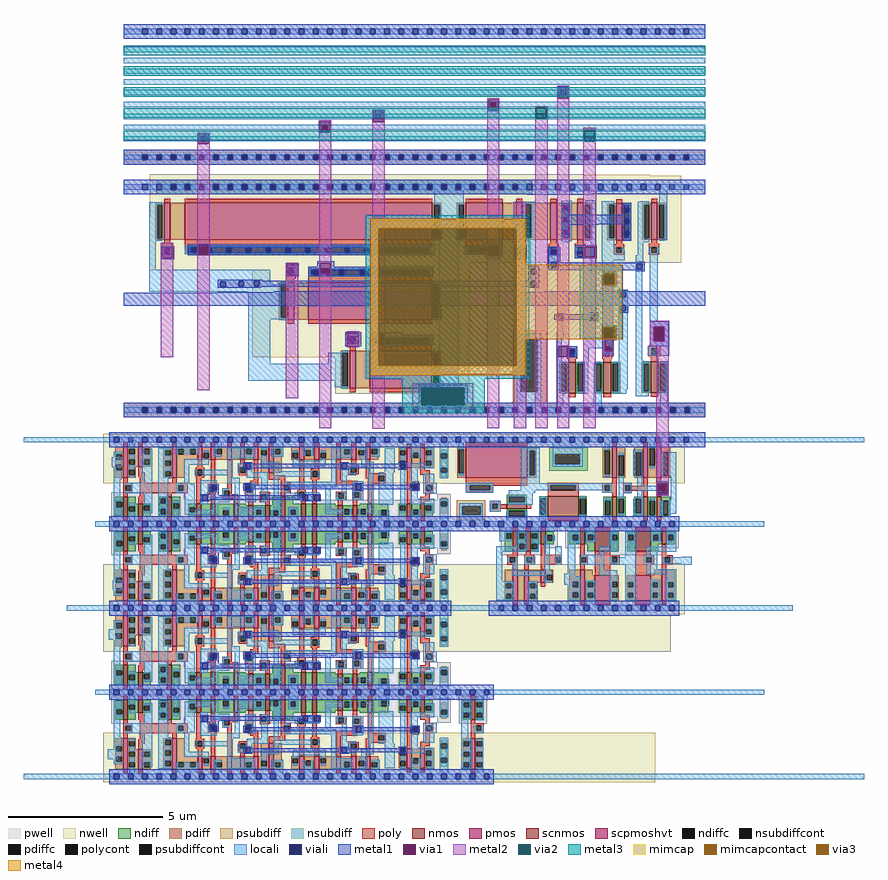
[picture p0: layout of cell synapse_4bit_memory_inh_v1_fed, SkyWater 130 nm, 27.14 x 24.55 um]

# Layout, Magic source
magic
tech sky130A
magscale 1 2
<< nwell >>
rect 4832 9204 5600 9527
rect 4841 8683 5561 8684
rect 2772 8519 2795 8581
rect 4841 8117 6313 8683
rect 4841 7274 6215 7595
<< locali >>
rect 6181 10218 6303 10257
rect 6181 10123 6204 10218
rect 6273 10123 6303 10218
rect 6181 10031 6303 10123
rect 2135 9471 7563 9505
rect 2703 9309 2769 9375
rect 4737 9139 4803 9205
rect 5345 9145 5438 9210
rect 4445 9074 4503 9132
rect 5465 8961 5509 9110
rect 2595 8927 4987 8961
rect 5171 8927 6919 8961
rect 4447 8756 4505 8814
rect 4737 8683 4803 8749
rect 5366 8679 5439 8731
rect 5566 8679 5611 8799
rect 6385 8729 6449 8733
rect 6350 8686 6449 8729
rect 6385 8679 6449 8686
rect 5627 8598 5694 8622
rect 2708 8515 2774 8581
rect 5627 8550 5693 8598
rect 5220 8500 5254 8534
rect 2411 8383 7103 8417
rect 2684 8197 2750 8263
rect 4737 8051 4803 8117
rect 4444 7984 4502 8042
rect 2595 7839 6919 7873
rect 4450 7669 4508 7727
rect 4736 7595 4802 7661
rect 2677 7423 2743 7489
rect 2135 7295 7563 7329
<< viali >>
rect 6204 10123 6273 10218
rect 6233 9160 6267 9194
<< metal1 >>
rect 6179 10218 6303 10254
rect 6179 10123 6204 10218
rect 6273 10123 6303 10218
rect 6179 10090 6303 10123
rect 6220 9216 6299 9218
rect 6220 9208 6301 9216
rect 6220 9140 6226 9208
rect 6294 9140 6301 9208
rect 6220 9129 6301 9140
rect 5139 8352 5211 8448
<< via1 >>
rect 6204 10123 6273 10218
rect 6226 9194 6294 9208
rect 6226 9160 6233 9194
rect 6233 9160 6267 9194
rect 6267 9160 6294 9194
rect 6226 9140 6294 9160
<< metal2 >>
rect 6178 10218 6302 10257
rect 6178 10123 6204 10218
rect 6273 10123 6302 10218
rect 6178 10093 6302 10123
rect 6219 9208 6300 10093
rect 6219 9140 6226 9208
rect 6294 9140 6300 9208
rect 6219 9126 6300 9140
use dpi_syn_inh_4bit_fc_v2  dpi_syn_inh_4bit_fc_v2_0
transform 1 0 -2251 0 1 7141
box 5031 2299 8787 5032
use sky130_fd_sc_hd__clkdlybuf4s50_1  sky130_fd_sc_hd__clkdlybuf4s50_1_0 $PDKPATH/libs.ref/sky130_fd_sc_hd/mag
transform -1 0 6367 0 -1 8944
box -38 -48 774 592
use sky130_fd_sc_hd__dfrbp_1  sky130_fd_sc_hd__dfrbp_1_0 $PDKPATH/libs.ref/sky130_fd_sc_hd/mag
transform -1 0 4803 0 1 8944
box -38 -48 2154 592
use sky130_fd_sc_hd__dfrbp_1  sky130_fd_sc_hd__dfrbp_1_1
transform -1 0 4803 0 -1 7856
box -38 -48 2154 592
use sky130_fd_sc_hd__dfrbp_1  sky130_fd_sc_hd__dfrbp_1_2
transform -1 0 4803 0 -1 8944
box -38 -48 2154 592
use sky130_fd_sc_hd__dfrbp_1  sky130_fd_sc_hd__dfrbp_1_3
transform -1 0 4803 0 1 7856
box -38 -48 2154 592
use sky130_fd_sc_hd__inv_1  sky130_fd_sc_hd__inv_1_5 $PDKPATH/libs.ref/sky130_fd_sc_hd/mag
transform -1 0 5171 0 -1 7856
box -38 -48 314 592
use sky130_fd_sc_hd__nor2b_1  sky130_fd_sc_hd__nor2b_1_0 $PDKPATH/libs.ref/sky130_fd_sc_hd/mag
transform -1 0 5631 0 -1 8944
box -38 -48 498 592
use sky130_fd_sc_hd__tapvpwrvgnd_1  sky130_fd_sc_hd__tapvpwrvgnd_1_24 $PDKPATH/libs.ref/sky130_fd_sc_hd/mag
transform 1 0 4803 0 -1 8944
box -38 -48 130 592
use sky130_fd_sc_hd__tapvpwrvgnd_1  sky130_fd_sc_hd__tapvpwrvgnd_1_26
transform 1 0 4803 0 1 8944
box -38 -48 130 592
use sky130_fd_sc_hd__tapvpwrvgnd_1  sky130_fd_sc_hd__tapvpwrvgnd_1_27
transform 1 0 4803 0 -1 7856
box -38 -48 130 592
use sky130_fd_sc_hd__tapvpwrvgnd_1  sky130_fd_sc_hd__tapvpwrvgnd_1_28
transform 1 0 4803 0 1 7856
box -38 -48 130 592
use spike_extender  spike_extender_0
transform 1 0 4895 0 1 8944
box -38 -48 1510 592
<< end >>

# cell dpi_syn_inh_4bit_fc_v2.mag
magic
tech sky130A
magscale 1 2
<< psubdiff >>
rect 5031 4188 8787 4219
rect 5031 4154 5151 4188
rect 5185 4154 5243 4188
rect 5277 4154 5335 4188
rect 5369 4154 5427 4188
rect 5461 4154 5519 4188
rect 5553 4154 5611 4188
rect 5645 4154 5703 4188
rect 5737 4154 5795 4188
rect 5829 4154 5887 4188
rect 5921 4154 5979 4188
rect 6013 4154 6071 4188
rect 6105 4154 6163 4188
rect 6197 4154 6255 4188
rect 6289 4154 6347 4188
rect 6381 4154 6439 4188
rect 6473 4154 6531 4188
rect 6565 4154 6623 4188
rect 6657 4154 6715 4188
rect 6749 4154 6807 4188
rect 6841 4154 6899 4188
rect 6933 4154 6991 4188
rect 7025 4154 7083 4188
rect 7117 4154 7175 4188
rect 7209 4154 7267 4188
rect 7301 4154 7359 4188
rect 7393 4154 7451 4188
rect 7485 4154 7543 4188
rect 7577 4154 7635 4188
rect 7669 4154 7727 4188
rect 7761 4154 7819 4188
rect 7853 4154 7911 4188
rect 7945 4154 8003 4188
rect 8037 4154 8095 4188
rect 8129 4154 8187 4188
rect 8221 4154 8279 4188
rect 8313 4154 8371 4188
rect 8405 4154 8463 4188
rect 8497 4154 8555 4188
rect 8589 4154 8647 4188
rect 8681 4154 8787 4188
rect 5031 4123 8787 4154
rect 5031 2556 8787 2587
rect 5031 2522 5151 2556
rect 5185 2522 5243 2556
rect 5277 2522 5335 2556
rect 5369 2522 5427 2556
rect 5461 2522 5519 2556
rect 5553 2522 5611 2556
rect 5645 2522 5703 2556
rect 5737 2522 5795 2556
rect 5829 2522 5887 2556
rect 5921 2522 5979 2556
rect 6013 2522 6071 2556
rect 6105 2522 6163 2556
rect 6197 2522 6255 2556
rect 6289 2522 6347 2556
rect 6381 2522 6439 2556
rect 6473 2522 6531 2556
rect 6565 2522 6623 2556
rect 6657 2522 6715 2556
rect 6749 2522 6807 2556
rect 6841 2522 6899 2556
rect 6933 2522 6991 2556
rect 7025 2522 7083 2556
rect 7117 2522 7175 2556
rect 7209 2522 7267 2556
rect 7301 2522 7359 2556
rect 7393 2522 7451 2556
rect 7485 2522 7543 2556
rect 7577 2522 7635 2556
rect 7669 2522 7731 2556
rect 7765 2522 7823 2556
rect 7857 2522 7915 2556
rect 7949 2522 8007 2556
rect 8041 2522 8099 2556
rect 8133 2522 8191 2556
rect 8225 2522 8283 2556
rect 8317 2522 8375 2556
rect 8409 2522 8470 2556
rect 8504 2522 8562 2556
rect 8596 2522 8654 2556
rect 8688 2522 8787 2556
rect 5031 2491 8787 2522
<< psubdiffcont >>
rect 5151 4154 5185 4188
rect 5243 4154 5277 4188
rect 5335 4154 5369 4188
rect 5427 4154 5461 4188
rect 5519 4154 5553 4188
rect 5611 4154 5645 4188
rect 5703 4154 5737 4188
rect 5795 4154 5829 4188
rect 5887 4154 5921 4188
rect 5979 4154 6013 4188
rect 6071 4154 6105 4188
rect 6163 4154 6197 4188
rect 6255 4154 6289 4188
rect 6347 4154 6381 4188
rect 6439 4154 6473 4188
rect 6531 4154 6565 4188
rect 6623 4154 6657 4188
rect 6715 4154 6749 4188
rect 6807 4154 6841 4188
rect 6899 4154 6933 4188
rect 6991 4154 7025 4188
rect 7083 4154 7117 4188
rect 7175 4154 7209 4188
rect 7267 4154 7301 4188
rect 7359 4154 7393 4188
rect 7451 4154 7485 4188
rect 7543 4154 7577 4188
rect 7635 4154 7669 4188
rect 7727 4154 7761 4188
rect 7819 4154 7853 4188
rect 7911 4154 7945 4188
rect 8003 4154 8037 4188
rect 8095 4154 8129 4188
rect 8187 4154 8221 4188
rect 8279 4154 8313 4188
rect 8371 4154 8405 4188
rect 8463 4154 8497 4188
rect 8555 4154 8589 4188
rect 8647 4154 8681 4188
rect 5151 2522 5185 2556
rect 5243 2522 5277 2556
rect 5335 2522 5369 2556
rect 5427 2522 5461 2556
rect 5519 2522 5553 2556
rect 5611 2522 5645 2556
rect 5703 2522 5737 2556
rect 5795 2522 5829 2556
rect 5887 2522 5921 2556
rect 5979 2522 6013 2556
rect 6071 2522 6105 2556
rect 6163 2522 6197 2556
rect 6255 2522 6289 2556
rect 6347 2522 6381 2556
rect 6439 2522 6473 2556
rect 6531 2522 6565 2556
rect 6623 2522 6657 2556
rect 6715 2522 6749 2556
rect 6807 2522 6841 2556
rect 6899 2522 6933 2556
rect 6991 2522 7025 2556
rect 7083 2522 7117 2556
rect 7175 2522 7209 2556
rect 7267 2522 7301 2556
rect 7359 2522 7393 2556
rect 7451 2522 7485 2556
rect 7543 2522 7577 2556
rect 7635 2522 7669 2556
rect 7731 2522 7765 2556
rect 7823 2522 7857 2556
rect 7915 2522 7949 2556
rect 8007 2522 8041 2556
rect 8099 2522 8133 2556
rect 8191 2522 8225 2556
rect 8283 2522 8317 2556
rect 8375 2522 8409 2556
rect 8470 2522 8504 2556
rect 8562 2522 8596 2556
rect 8654 2522 8688 2556
<< locali >>
rect 5031 4967 5151 5001
rect 5185 4967 5243 5001
rect 5277 4967 5335 5001
rect 5369 4967 5427 5001
rect 5461 4967 5519 5001
rect 5553 4967 5611 5001
rect 5645 4967 5703 5001
rect 5737 4967 5795 5001
rect 5829 4967 5887 5001
rect 5921 4967 5979 5001
rect 6013 4967 6071 5001
rect 6105 4967 6163 5001
rect 6197 4967 6255 5001
rect 6289 4967 6347 5001
rect 6381 4967 6439 5001
rect 6473 4967 6531 5001
rect 6565 4967 6623 5001
rect 6657 4967 6715 5001
rect 6749 4967 6807 5001
rect 6841 4967 6899 5001
rect 6933 4967 6991 5001
rect 7025 4967 7083 5001
rect 7117 4967 7175 5001
rect 7209 4967 7267 5001
rect 7301 4967 7359 5001
rect 7393 4967 7451 5001
rect 7485 4967 7543 5001
rect 7577 4967 7635 5001
rect 7669 4967 7727 5001
rect 7761 4967 7819 5001
rect 7853 4967 7911 5001
rect 7945 4967 8003 5001
rect 8037 4967 8095 5001
rect 8129 4967 8187 5001
rect 8221 4967 8279 5001
rect 8313 4967 8371 5001
rect 8405 4967 8463 5001
rect 8497 4967 8555 5001
rect 8589 4967 8647 5001
rect 8681 4967 8787 5001
rect 5031 4849 8787 4884
rect 5031 4779 8787 4813
rect 5031 4710 8787 4744
rect 5031 4641 8787 4675
rect 5031 4572 7853 4606
rect 7887 4572 8787 4606
rect 5031 4495 7401 4529
rect 7435 4495 8787 4529
rect 5031 4418 6658 4452
rect 6692 4418 8787 4452
rect 5031 4348 6314 4382
rect 6348 4348 8787 4382
rect 5031 4274 5529 4308
rect 5563 4274 8787 4308
rect 5031 4154 5151 4188
rect 5185 4154 5243 4188
rect 5277 4154 5335 4188
rect 5369 4154 5427 4188
rect 5461 4154 5519 4188
rect 5553 4154 5611 4188
rect 5645 4154 5703 4188
rect 5737 4154 5795 4188
rect 5829 4154 5887 4188
rect 5921 4154 5979 4188
rect 6013 4154 6071 4188
rect 6105 4154 6163 4188
rect 6197 4154 6255 4188
rect 6289 4154 6347 4188
rect 6381 4154 6439 4188
rect 6473 4154 6531 4188
rect 6565 4154 6623 4188
rect 6657 4154 6715 4188
rect 6749 4154 6807 4188
rect 6841 4154 6899 4188
rect 6933 4154 6991 4188
rect 7025 4154 7083 4188
rect 7117 4154 7175 4188
rect 7209 4154 7267 4188
rect 7301 4154 7359 4188
rect 7393 4154 7451 4188
rect 7485 4154 7543 4188
rect 7577 4154 7635 4188
rect 7669 4154 7727 4188
rect 7761 4154 7819 4188
rect 7853 4154 7911 4188
rect 7945 4154 8003 4188
rect 8037 4154 8095 4188
rect 8129 4154 8187 4188
rect 8221 4154 8279 4188
rect 8313 4154 8371 4188
rect 8405 4154 8463 4188
rect 8497 4154 8555 4188
rect 8589 4154 8647 4188
rect 8681 4154 8787 4188
rect 8436 3389 8479 3412
rect 5031 2522 5151 2556
rect 5185 2522 5243 2556
rect 5277 2522 5335 2556
rect 5369 2522 5427 2556
rect 5461 2522 5519 2556
rect 5553 2522 5611 2556
rect 5645 2522 5703 2556
rect 5737 2522 5795 2556
rect 5829 2522 5887 2556
rect 5921 2522 5979 2556
rect 6013 2522 6071 2556
rect 6105 2522 6163 2556
rect 6197 2522 6255 2556
rect 6289 2522 6347 2556
rect 6381 2522 6439 2556
rect 6473 2522 6531 2556
rect 6565 2522 6623 2556
rect 6657 2522 6715 2556
rect 6749 2522 6807 2556
rect 6841 2522 6899 2556
rect 6933 2522 6991 2556
rect 7025 2522 7083 2556
rect 7117 2522 7175 2556
rect 7209 2522 7267 2556
rect 7301 2522 7359 2556
rect 7393 2522 7451 2556
rect 7485 2522 7543 2556
rect 7577 2522 7635 2556
rect 7669 2522 7731 2556
rect 7765 2522 7823 2556
rect 7857 2522 7915 2556
rect 7949 2522 8007 2556
rect 8041 2522 8099 2556
rect 8133 2522 8191 2556
rect 8225 2522 8283 2556
rect 8317 2522 8375 2556
rect 8409 2522 8470 2556
rect 8504 2522 8562 2556
rect 8596 2522 8654 2556
rect 8688 2522 8787 2556
rect 5031 2330 5151 2364
rect 5185 2330 5243 2364
rect 5277 2330 5335 2364
rect 5369 2330 5427 2364
rect 5461 2330 5519 2364
rect 5553 2330 5611 2364
rect 5645 2330 5703 2364
rect 5737 2330 5795 2364
rect 5829 2330 5887 2364
rect 5921 2330 5979 2364
rect 6013 2330 6071 2364
rect 6105 2330 6163 2364
rect 6197 2330 6255 2364
rect 6289 2330 6347 2364
rect 6381 2330 6439 2364
rect 6473 2330 6531 2364
rect 6565 2330 6623 2364
rect 6657 2330 6715 2364
rect 6749 2330 6807 2364
rect 6841 2330 6899 2364
rect 6933 2330 6991 2364
rect 7025 2330 7083 2364
rect 7117 2330 7175 2364
rect 7209 2330 7267 2364
rect 7301 2330 7359 2364
rect 7393 2330 7451 2364
rect 7485 2330 7543 2364
rect 7577 2330 7635 2364
rect 7669 2330 7727 2364
rect 7761 2330 7819 2364
rect 7853 2330 7911 2364
rect 7945 2330 8003 2364
rect 8037 2330 8095 2364
rect 8129 2330 8187 2364
rect 8221 2330 8279 2364
rect 8313 2330 8371 2364
rect 8405 2330 8463 2364
rect 8497 2330 8555 2364
rect 8589 2330 8647 2364
rect 8681 2330 8787 2364
<< viali >>
rect 5151 4967 5185 5001
rect 5243 4967 5277 5001
rect 5335 4967 5369 5001
rect 5427 4967 5461 5001
rect 5519 4967 5553 5001
rect 5611 4967 5645 5001
rect 5703 4967 5737 5001
rect 5795 4967 5829 5001
rect 5887 4967 5921 5001
rect 5979 4967 6013 5001
rect 6071 4967 6105 5001
rect 6163 4967 6197 5001
rect 6255 4967 6289 5001
rect 6347 4967 6381 5001
rect 6439 4967 6473 5001
rect 6531 4967 6565 5001
rect 6623 4967 6657 5001
rect 6715 4967 6749 5001
rect 6807 4967 6841 5001
rect 6899 4967 6933 5001
rect 6991 4967 7025 5001
rect 7083 4967 7117 5001
rect 7175 4967 7209 5001
rect 7267 4967 7301 5001
rect 7359 4967 7393 5001
rect 7451 4967 7485 5001
rect 7543 4967 7577 5001
rect 7635 4967 7669 5001
rect 7727 4967 7761 5001
rect 7819 4967 7853 5001
rect 7911 4967 7945 5001
rect 8003 4967 8037 5001
rect 8095 4967 8129 5001
rect 8187 4967 8221 5001
rect 8279 4967 8313 5001
rect 8371 4967 8405 5001
rect 8463 4967 8497 5001
rect 8555 4967 8589 5001
rect 8647 4967 8681 5001
rect 7853 4572 7887 4606
rect 7401 4495 7435 4529
rect 6658 4418 6692 4452
rect 6314 4348 6348 4382
rect 5529 4274 5563 4308
rect 5151 4154 5185 4188
rect 5243 4154 5277 4188
rect 5335 4154 5369 4188
rect 5427 4154 5461 4188
rect 5519 4154 5553 4188
rect 5611 4154 5645 4188
rect 5703 4154 5737 4188
rect 5795 4154 5829 4188
rect 5887 4154 5921 4188
rect 5979 4154 6013 4188
rect 6071 4154 6105 4188
rect 6163 4154 6197 4188
rect 6255 4154 6289 4188
rect 6347 4154 6381 4188
rect 6439 4154 6473 4188
rect 6531 4154 6565 4188
rect 6623 4154 6657 4188
rect 6715 4154 6749 4188
rect 6807 4154 6841 4188
rect 6899 4154 6933 4188
rect 6991 4154 7025 4188
rect 7083 4154 7117 4188
rect 7175 4154 7209 4188
rect 7267 4154 7301 4188
rect 7359 4154 7393 4188
rect 7451 4154 7485 4188
rect 7543 4154 7577 4188
rect 7635 4154 7669 4188
rect 7727 4154 7761 4188
rect 7819 4154 7853 4188
rect 7911 4154 7945 4188
rect 8003 4154 8037 4188
rect 8095 4154 8129 4188
rect 8187 4154 8221 4188
rect 8279 4154 8313 4188
rect 8371 4154 8405 4188
rect 8463 4154 8497 4188
rect 8555 4154 8589 4188
rect 8647 4154 8681 4188
rect 5151 2522 5185 2556
rect 5243 2522 5277 2556
rect 5335 2522 5369 2556
rect 5427 2522 5461 2556
rect 5519 2522 5553 2556
rect 5611 2522 5645 2556
rect 5703 2522 5737 2556
rect 5795 2522 5829 2556
rect 5887 2522 5921 2556
rect 5979 2522 6013 2556
rect 6071 2522 6105 2556
rect 6163 2522 6197 2556
rect 6255 2522 6289 2556
rect 6347 2522 6381 2556
rect 6439 2522 6473 2556
rect 6531 2522 6565 2556
rect 6623 2522 6657 2556
rect 6715 2522 6749 2556
rect 6807 2522 6841 2556
rect 6899 2522 6933 2556
rect 6991 2522 7025 2556
rect 7083 2522 7117 2556
rect 7175 2522 7209 2556
rect 7267 2522 7301 2556
rect 7359 2522 7393 2556
rect 7451 2522 7485 2556
rect 7543 2522 7577 2556
rect 7635 2522 7669 2556
rect 7731 2522 7765 2556
rect 7823 2522 7857 2556
rect 7915 2522 7949 2556
rect 8007 2522 8041 2556
rect 8099 2522 8133 2556
rect 8191 2522 8225 2556
rect 8283 2522 8317 2556
rect 8375 2522 8409 2556
rect 8470 2522 8504 2556
rect 8562 2522 8596 2556
rect 8654 2522 8688 2556
rect 5151 2330 5185 2364
rect 5243 2330 5277 2364
rect 5335 2330 5369 2364
rect 5427 2330 5461 2364
rect 5519 2330 5553 2364
rect 5611 2330 5645 2364
rect 5703 2330 5737 2364
rect 5795 2330 5829 2364
rect 5887 2330 5921 2364
rect 5979 2330 6013 2364
rect 6071 2330 6105 2364
rect 6163 2330 6197 2364
rect 6255 2330 6289 2364
rect 6347 2330 6381 2364
rect 6439 2330 6473 2364
rect 6531 2330 6565 2364
rect 6623 2330 6657 2364
rect 6715 2330 6749 2364
rect 6807 2330 6841 2364
rect 6899 2330 6933 2364
rect 6991 2330 7025 2364
rect 7083 2330 7117 2364
rect 7175 2330 7209 2364
rect 7267 2330 7301 2364
rect 7359 2330 7393 2364
rect 7451 2330 7485 2364
rect 7543 2330 7577 2364
rect 7635 2330 7669 2364
rect 7727 2330 7761 2364
rect 7819 2330 7853 2364
rect 7911 2330 7945 2364
rect 8003 2330 8037 2364
rect 8095 2330 8129 2364
rect 8187 2330 8221 2364
rect 8279 2330 8313 2364
rect 8371 2330 8405 2364
rect 8463 2330 8497 2364
rect 8555 2330 8589 2364
rect 8647 2330 8681 2364
<< metal1 >>
rect 5031 5001 8787 5032
rect 5031 4967 5151 5001
rect 5185 4967 5243 5001
rect 5277 4967 5335 5001
rect 5369 4967 5427 5001
rect 5461 4967 5519 5001
rect 5553 4967 5611 5001
rect 5645 4967 5703 5001
rect 5737 4967 5795 5001
rect 5829 4967 5887 5001
rect 5921 4967 5979 5001
rect 6013 4967 6071 5001
rect 6105 4967 6163 5001
rect 6197 4967 6255 5001
rect 6289 4967 6347 5001
rect 6381 4967 6439 5001
rect 6473 4967 6531 5001
rect 6565 4967 6623 5001
rect 6657 4967 6715 5001
rect 6749 4967 6807 5001
rect 6841 4967 6899 5001
rect 6933 4967 6991 5001
rect 7025 4967 7083 5001
rect 7117 4967 7175 5001
rect 7209 4967 7267 5001
rect 7301 4967 7359 5001
rect 7393 4967 7451 5001
rect 7485 4967 7543 5001
rect 7577 4967 7635 5001
rect 7669 4967 7727 5001
rect 7761 4967 7819 5001
rect 7853 4967 7911 5001
rect 7945 4967 8003 5001
rect 8037 4967 8095 5001
rect 8129 4967 8187 5001
rect 8221 4967 8279 5001
rect 8313 4967 8371 5001
rect 8405 4967 8463 5001
rect 8497 4967 8555 5001
rect 8589 4967 8647 5001
rect 8681 4967 8787 5001
rect 5031 4936 8787 4967
rect 7830 4622 7910 4628
rect 7830 4554 7836 4622
rect 7904 4554 7910 4622
rect 7378 4544 7458 4553
rect 7830 4548 7910 4554
rect 7378 4476 7385 4544
rect 7453 4476 7458 4544
rect 6635 4470 6715 4476
rect 6291 4402 6373 4408
rect 6291 4334 6298 4402
rect 6366 4334 6373 4402
rect 6635 4402 6641 4470
rect 6709 4402 6715 4470
rect 7378 4469 7458 4476
rect 6635 4396 6715 4402
rect 5506 4325 5586 4331
rect 6291 4328 6373 4334
rect 5506 4257 5512 4325
rect 5580 4257 5586 4325
rect 5031 4188 8787 4219
rect 5031 4154 5151 4188
rect 5185 4154 5243 4188
rect 5277 4154 5335 4188
rect 5369 4154 5427 4188
rect 5461 4154 5519 4188
rect 5553 4154 5611 4188
rect 5645 4154 5703 4188
rect 5737 4154 5795 4188
rect 5829 4154 5887 4188
rect 5921 4154 5979 4188
rect 6013 4154 6071 4188
rect 6105 4154 6163 4188
rect 6197 4154 6255 4188
rect 6289 4154 6347 4188
rect 6381 4154 6439 4188
rect 6473 4154 6531 4188
rect 6565 4154 6623 4188
rect 6657 4154 6715 4188
rect 6749 4154 6807 4188
rect 6841 4154 6899 4188
rect 6933 4154 6991 4188
rect 7025 4154 7083 4188
rect 7117 4154 7175 4188
rect 7209 4154 7267 4188
rect 7301 4154 7359 4188
rect 7393 4154 7451 4188
rect 7485 4154 7543 4188
rect 7577 4154 7635 4188
rect 7669 4154 7727 4188
rect 7761 4154 7819 4188
rect 7853 4154 7911 4188
rect 7945 4154 8003 4188
rect 8037 4154 8095 4188
rect 8129 4154 8187 4188
rect 8221 4154 8279 4188
rect 8313 4154 8371 4188
rect 8405 4154 8463 4188
rect 8497 4154 8555 4188
rect 8589 4154 8647 4188
rect 8681 4154 8787 4188
rect 5031 4123 8787 4154
rect 8531 3945 8559 4026
rect 8560 3945 8763 4026
rect 8507 3211 8787 3307
rect 5031 2556 8787 2587
rect 5031 2522 5151 2556
rect 5185 2522 5243 2556
rect 5277 2522 5335 2556
rect 5369 2522 5427 2556
rect 5461 2522 5519 2556
rect 5553 2522 5611 2556
rect 5645 2522 5703 2556
rect 5737 2522 5795 2556
rect 5829 2522 5887 2556
rect 5921 2522 5979 2556
rect 6013 2522 6071 2556
rect 6105 2522 6163 2556
rect 6197 2522 6255 2556
rect 6289 2522 6347 2556
rect 6381 2522 6439 2556
rect 6473 2522 6531 2556
rect 6565 2522 6623 2556
rect 6657 2522 6715 2556
rect 6749 2522 6807 2556
rect 6841 2522 6899 2556
rect 6933 2522 6991 2556
rect 7025 2522 7083 2556
rect 7117 2522 7175 2556
rect 7209 2522 7267 2556
rect 7301 2522 7359 2556
rect 7393 2522 7451 2556
rect 7485 2522 7543 2556
rect 7577 2522 7635 2556
rect 7669 2522 7731 2556
rect 7765 2522 7823 2556
rect 7857 2522 7915 2556
rect 7949 2522 8007 2556
rect 8041 2522 8099 2556
rect 8133 2522 8191 2556
rect 8225 2522 8283 2556
rect 8317 2522 8375 2556
rect 8409 2522 8470 2556
rect 8504 2522 8562 2556
rect 8596 2522 8654 2556
rect 8688 2522 8787 2556
rect 5031 2491 8787 2522
rect 5031 2364 8787 2395
rect 5031 2330 5151 2364
rect 5185 2330 5243 2364
rect 5277 2330 5335 2364
rect 5369 2330 5427 2364
rect 5461 2330 5519 2364
rect 5553 2330 5611 2364
rect 5645 2330 5703 2364
rect 5737 2330 5795 2364
rect 5829 2330 5887 2364
rect 5921 2330 5979 2364
rect 6013 2330 6071 2364
rect 6105 2330 6163 2364
rect 6197 2330 6255 2364
rect 6289 2330 6347 2364
rect 6381 2330 6439 2364
rect 6473 2330 6531 2364
rect 6565 2330 6623 2364
rect 6657 2330 6715 2364
rect 6749 2330 6807 2364
rect 6841 2330 6899 2364
rect 6933 2330 6991 2364
rect 7025 2330 7083 2364
rect 7117 2330 7175 2364
rect 7209 2330 7267 2364
rect 7301 2330 7359 2364
rect 7393 2330 7451 2364
rect 7485 2330 7543 2364
rect 7577 2330 7635 2364
rect 7669 2330 7727 2364
rect 7761 2330 7819 2364
rect 7853 2330 7911 2364
rect 7945 2330 8003 2364
rect 8037 2330 8095 2364
rect 8129 2330 8187 2364
rect 8221 2330 8279 2364
rect 8313 2330 8371 2364
rect 8405 2330 8463 2364
rect 8497 2330 8555 2364
rect 8589 2330 8647 2364
rect 8681 2330 8787 2364
rect 5031 2299 8787 2330
<< via1 >>
rect 7836 4606 7904 4622
rect 7836 4572 7853 4606
rect 7853 4572 7887 4606
rect 7887 4572 7904 4606
rect 7836 4554 7904 4572
rect 7385 4529 7453 4544
rect 7385 4495 7401 4529
rect 7401 4495 7435 4529
rect 7435 4495 7453 4529
rect 7385 4476 7453 4495
rect 6298 4382 6366 4402
rect 6298 4348 6314 4382
rect 6314 4348 6348 4382
rect 6348 4348 6366 4382
rect 6298 4334 6366 4348
rect 6641 4452 6709 4470
rect 6641 4418 6658 4452
rect 6658 4418 6692 4452
rect 6692 4418 6709 4452
rect 6641 4402 6709 4418
rect 5512 4308 5580 4325
rect 5512 4274 5529 4308
rect 5529 4274 5563 4308
rect 5563 4274 5580 4308
rect 5512 4257 5580 4274
<< metal2 >>
rect 7830 4622 7910 4633
rect 7830 4554 7836 4622
rect 7904 4554 7910 4622
rect 7378 4544 7458 4554
rect 6636 4470 6716 4478
rect 6293 4402 6373 4410
rect 6293 4334 6298 4402
rect 6366 4334 6373 4402
rect 5506 4325 5586 4331
rect 5506 4257 5512 4325
rect 5580 4257 5586 4325
rect 5506 4032 5586 4257
rect 6293 4032 6373 4334
rect 6636 4402 6641 4470
rect 6709 4402 6716 4470
rect 6636 4032 6716 4402
rect 7378 4476 7385 4544
rect 7453 4476 7458 4544
rect 7378 4032 7458 4476
rect 7688 4490 7769 4501
rect 7688 4422 7693 4490
rect 7761 4422 7769 4490
rect 7688 4032 7769 4422
rect 7830 4032 7910 4554
rect 8001 4344 8081 4363
rect 8001 4276 8007 4344
rect 8075 4276 8081 4344
rect 8001 4032 8081 4276
rect 7551 3815 7619 3883
rect 5278 3521 5346 3589
rect 6087 3410 6155 3478
rect 6482 2967 6550 3035
<< via2 >>
rect 7693 4422 7761 4490
rect 8007 4276 8075 4344
<< metal3 >>
rect 5031 4831 8787 4891
rect 5031 4698 8787 4758
rect 5031 4562 8787 4622
rect 7688 4490 7767 4498
rect 7688 4487 7693 4490
rect 5031 4427 7693 4487
rect 5773 4426 5859 4427
rect 7688 4422 7693 4427
rect 7761 4487 7767 4490
rect 7761 4427 8787 4487
rect 7761 4422 7767 4427
rect 7688 4416 7767 4422
rect 8000 4344 8081 4349
rect 8000 4341 8007 4344
rect 5031 4281 8007 4341
rect 8000 4276 8007 4281
rect 8075 4341 8081 4344
rect 8075 4281 8787 4341
rect 8075 4276 8081 4281
rect 8000 4271 8081 4276
use dpi_syn_inh_4bit_fc_v2_norail  dpi_syn_inh_4bit_fc_v2_norail_0
transform 1 0 0 0 1 0
box 5031 2299 8787 4097
<< labels >>
flabel metal2 5525 4079 5535 4091 1 FreeSans 320 0 0 0 JInhWp[3]
port 33 n
flabel metal2 6323 4085 6329 4096 1 FreeSans 320 0 0 0 JInhWp[2]
port 32 n
flabel metal2 7400 4082 7411 4094 1 FreeSans 320 0 0 0 JInhWp[0]
port 30 n
flabel metal2 7855 4231 7861 4237 1 FreeSans 320 0 0 0 vtaun
port 7 n
flabel metal1 8484 2543 8484 2543 1 FreeSans 320 0 0 0 GND
port 12 n
flabel metal1 8512 3233 8537 3262 1 FreeSans 320 0 0 0 sout
port 9 n
flabel metal2 8027 4245 8031 4247 1 FreeSans 320 0 0 0 vthrdp
port 3 n
flabel metal2 6660 4071 6673 4097 1 FreeSans 320 0 0 0 JInhWp[1]
port 31 n
flabel metal1 8690 3972 8702 3986 1 FreeSans 320 0 0 0 aVDD
port 16 n
flabel locali 8450 3398 8456 3400 1 FreeSans 320 0 0 0 spk
port 1 n
flabel metal2 7579 3842 7595 3855 1 FreeSans 320 0 0 0 weight_b[0]
port 40 n
flabel metal2 6505 2993 6521 3006 1 FreeSans 320 0 0 0 weight_b[1]
port 41 n
flabel metal2 6108 3437 6124 3450 1 FreeSans 320 0 0 0 weight_b[2]
port 42 n
flabel metal2 5300 3541 5316 3554 1 FreeSans 320 0 0 0 weight_b[3]
port 43 n
flabel metal1 5108 2525 5121 2543 1 FreeSans 320 0 0 0 GND
port 12 n
<< end >>

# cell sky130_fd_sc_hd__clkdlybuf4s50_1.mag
magic
tech sky130A
magscale 1 2
<< nwell >>
rect -38 261 774 582
<< pwell >>
rect 107 157 619 203
rect 1 21 735 157
rect 30 -17 64 21
<< scnmos >>
rect 81 47 111 131
rect 183 47 283 177
rect 443 47 543 177
rect 608 47 638 131
<< scpmoshvt >>
rect 81 297 111 497
rect 183 333 283 497
rect 443 333 543 497
rect 608 297 638 497
<< ndiff >>
rect 133 131 183 177
rect 27 104 81 131
rect 27 70 36 104
rect 70 70 81 104
rect 27 47 81 70
rect 111 104 183 131
rect 111 70 133 104
rect 167 70 183 104
rect 111 47 183 70
rect 283 104 335 177
rect 283 70 293 104
rect 327 70 335 104
rect 283 47 335 70
rect 390 104 443 177
rect 390 70 398 104
rect 432 70 443 104
rect 390 47 443 70
rect 543 131 593 177
rect 543 104 608 131
rect 543 70 554 104
rect 588 70 608 104
rect 543 47 608 70
rect 638 104 709 131
rect 638 70 652 104
rect 686 70 709 104
rect 638 47 709 70
<< pdiff >>
rect 27 478 81 497
rect 27 444 36 478
rect 70 444 81 478
rect 27 410 81 444
rect 27 376 36 410
rect 70 376 81 410
rect 27 297 81 376
rect 111 478 183 497
rect 111 444 136 478
rect 170 444 183 478
rect 111 410 183 444
rect 111 376 136 410
rect 170 376 183 410
rect 111 333 183 376
rect 283 478 336 497
rect 283 444 294 478
rect 328 444 336 478
rect 283 410 336 444
rect 283 376 294 410
rect 328 376 336 410
rect 283 333 336 376
rect 390 477 443 497
rect 390 443 398 477
rect 432 443 443 477
rect 390 409 443 443
rect 390 375 398 409
rect 432 375 443 409
rect 390 333 443 375
rect 543 478 608 497
rect 543 444 554 478
rect 588 444 608 478
rect 543 410 608 444
rect 543 376 554 410
rect 588 376 608 410
rect 543 333 608 376
rect 111 297 161 333
rect 558 297 608 333
rect 638 477 709 497
rect 638 443 652 477
rect 686 443 709 477
rect 638 409 709 443
rect 638 375 652 409
rect 686 375 709 409
rect 638 297 709 375
<< ndiffc >>
rect 36 70 70 104
rect 133 70 167 104
rect 293 70 327 104
rect 398 70 432 104
rect 554 70 588 104
rect 652 70 686 104
<< pdiffc >>
rect 36 444 70 478
rect 36 376 70 410
rect 136 444 170 478
rect 136 376 170 410
rect 294 444 328 478
rect 294 376 328 410
rect 398 443 432 477
rect 398 375 432 409
rect 554 444 588 478
rect 554 376 588 410
rect 652 443 686 477
rect 652 375 686 409
<< poly >>
rect 81 497 111 523
rect 183 497 283 523
rect 443 497 543 523
rect 608 497 638 523
rect 81 262 111 297
rect 41 249 111 262
rect 183 259 283 333
rect 443 259 543 333
rect 608 265 638 297
rect 41 215 57 249
rect 91 215 111 249
rect 41 203 111 215
rect 161 249 283 259
rect 161 215 177 249
rect 211 215 283 249
rect 161 205 283 215
rect 382 249 543 259
rect 382 215 398 249
rect 432 215 543 249
rect 382 205 543 215
rect 81 131 111 203
rect 183 177 283 205
rect 443 177 543 205
rect 588 249 642 265
rect 588 215 598 249
rect 632 215 642 249
rect 588 199 642 215
rect 608 131 638 199
rect 81 21 111 47
rect 183 21 283 47
rect 443 21 543 47
rect 608 21 638 47
<< polycont >>
rect 57 215 91 249
rect 177 215 211 249
rect 398 215 432 249
rect 598 215 632 249
<< locali >>
rect 0 527 29 561
rect 63 527 121 561
rect 155 527 213 561
rect 247 527 305 561
rect 339 527 397 561
rect 431 527 489 561
rect 523 527 581 561
rect 615 527 673 561
rect 707 527 736 561
rect 17 478 86 493
rect 17 444 36 478
rect 70 444 86 478
rect 17 410 86 444
rect 17 376 36 410
rect 70 376 86 410
rect 17 326 86 376
rect 120 478 186 527
rect 120 444 136 478
rect 170 444 186 478
rect 120 410 186 444
rect 120 376 136 410
rect 170 376 186 410
rect 120 360 186 376
rect 276 478 346 493
rect 276 444 294 478
rect 328 444 346 478
rect 276 410 346 444
rect 276 376 294 410
rect 328 376 346 410
rect 17 292 211 326
rect 141 263 211 292
rect 276 264 346 376
rect 398 477 448 493
rect 432 443 448 477
rect 398 409 448 443
rect 432 375 448 409
rect 398 333 448 375
rect 538 478 604 527
rect 538 444 554 478
rect 588 444 604 478
rect 538 410 604 444
rect 538 376 554 410
rect 588 376 604 410
rect 538 367 604 376
rect 638 477 719 493
rect 638 443 652 477
rect 686 443 719 477
rect 638 409 719 443
rect 638 375 652 409
rect 686 375 719 409
rect 638 338 719 375
rect 398 299 516 333
rect 482 265 516 299
rect 17 249 107 258
rect 17 215 57 249
rect 91 215 107 249
rect 141 249 227 263
rect 141 215 177 249
rect 211 215 227 249
rect 141 205 227 215
rect 276 249 448 264
rect 276 215 398 249
rect 432 215 448 249
rect 276 214 448 215
rect 482 249 635 265
rect 482 215 598 249
rect 632 215 635 249
rect 141 181 211 205
rect 17 147 211 181
rect 17 104 83 147
rect 17 70 36 104
rect 70 70 83 104
rect 17 51 83 70
rect 117 104 183 113
rect 117 70 133 104
rect 167 70 183 104
rect 117 17 183 70
rect 276 104 346 214
rect 482 199 635 215
rect 482 180 516 199
rect 276 70 293 104
rect 327 70 346 104
rect 276 51 346 70
rect 398 146 516 180
rect 398 104 448 146
rect 669 128 719 338
rect 432 70 448 104
rect 398 51 448 70
rect 538 104 604 120
rect 538 70 554 104
rect 588 70 604 104
rect 538 17 604 70
rect 638 104 719 128
rect 638 70 652 104
rect 686 70 719 104
rect 638 51 719 70
rect 0 -17 29 17
rect 63 -17 121 17
rect 155 -17 213 17
rect 247 -17 305 17
rect 339 -17 397 17
rect 431 -17 489 17
rect 523 -17 581 17
rect 615 -17 673 17
rect 707 -17 736 17
<< viali >>
rect 29 527 63 561
rect 121 527 155 561
rect 213 527 247 561
rect 305 527 339 561
rect 397 527 431 561
rect 489 527 523 561
rect 581 527 615 561
rect 673 527 707 561
rect 29 -17 63 17
rect 121 -17 155 17
rect 213 -17 247 17
rect 305 -17 339 17
rect 397 -17 431 17
rect 489 -17 523 17
rect 581 -17 615 17
rect 673 -17 707 17
<< metal1 >>
rect 0 561 736 592
rect 0 527 29 561
rect 63 527 121 561
rect 155 527 213 561
rect 247 527 305 561
rect 339 527 397 561
rect 431 527 489 561
rect 523 527 581 561
rect 615 527 673 561
rect 707 527 736 561
rect 0 496 736 527
rect 0 17 736 48
rect 0 -17 29 17
rect 63 -17 121 17
rect 155 -17 213 17
rect 247 -17 305 17
rect 339 -17 397 17
rect 431 -17 489 17
rect 523 -17 581 17
rect 615 -17 673 17
rect 707 -17 736 17
rect 0 -48 736 -17
<< labels >>
flabel locali s 30 221 64 255 0 FreeSans 400 0 0 0 A
port 6 nsew
flabel locali s 676 425 710 459 0 FreeSans 400 0 0 0 X
port 7 nsew
flabel locali s 676 357 710 391 0 FreeSans 400 0 0 0 X
port 7 nsew
flabel locali s 676 289 710 323 0 FreeSans 400 0 0 0 X
port 7 nsew
flabel locali s 676 221 710 255 0 FreeSans 400 0 0 0 X
port 7 nsew
flabel locali s 676 153 710 187 0 FreeSans 400 0 0 0 X
port 7 nsew
flabel locali s 676 85 710 119 0 FreeSans 400 0 0 0 X
port 7 nsew
flabel pwell s 30 -17 64 17 0 FreeSans 200 0 0 0 VNB
port 2 nsew
flabel nwell s 30 527 64 561 0 FreeSans 200 0 0 0 VPB
port 3 nsew
flabel metal1 s 30 -17 64 17 0 FreeSans 200 0 0 0 VGND
port 4 nsew
flabel metal1 s 30 527 64 561 0 FreeSans 200 0 0 0 VPWR
port 5 nsew
rlabel comment s 0 0 0 0 4 clkdlybuf4s50_1
<< properties >>
string FIXED_BBOX 0 0 736 544
string path 0.000 0.000 3.680 0.000 
<< end >>

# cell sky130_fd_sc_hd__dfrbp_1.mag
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
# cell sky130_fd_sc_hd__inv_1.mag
magic
tech sky130A
magscale 1 2
<< nwell >>
rect -38 261 314 582
<< pwell >>
rect 42 21 228 203
rect 42 17 63 21
rect 29 -17 63 17
<< scnmos >>
rect 120 47 150 177
<< scpmoshvt >>
rect 120 297 150 497
<< ndiff >>
rect 68 165 120 177
rect 68 131 76 165
rect 110 131 120 165
rect 68 97 120 131
rect 68 63 76 97
rect 110 63 120 97
rect 68 47 120 63
rect 150 165 202 177
rect 150 131 160 165
rect 194 131 202 165
rect 150 97 202 131
rect 150 63 160 97
rect 194 63 202 97
rect 150 47 202 63
<< pdiff >>
rect 68 485 120 497
rect 68 451 76 485
rect 110 451 120 485
rect 68 417 120 451
rect 68 383 76 417
rect 110 383 120 417
rect 68 349 120 383
rect 68 315 76 349
rect 110 315 120 349
rect 68 297 120 315
rect 150 485 202 497
rect 150 451 160 485
rect 194 451 202 485
rect 150 417 202 451
rect 150 383 160 417
rect 194 383 202 417
rect 150 349 202 383
rect 150 315 160 349
rect 194 315 202 349
rect 150 297 202 315
<< ndiffc >>
rect 76 131 110 165
rect 76 63 110 97
rect 160 131 194 165
rect 160 63 194 97
<< pdiffc >>
rect 76 451 110 485
rect 76 383 110 417
rect 76 315 110 349
rect 160 451 194 485
rect 160 383 194 417
rect 160 315 194 349
<< poly >>
rect 120 497 150 523
rect 120 265 150 297
rect 64 249 150 265
rect 64 215 80 249
rect 114 215 150 249
rect 64 199 150 215
rect 120 177 150 199
rect 120 21 150 47
<< polycont >>
rect 80 215 114 249
<< locali >>
rect 0 527 29 561
rect 63 527 121 561
rect 155 527 213 561
rect 247 527 276 561
rect 68 485 110 527
rect 68 451 76 485
rect 68 417 110 451
rect 68 383 76 417
rect 68 349 110 383
rect 68 315 76 349
rect 68 299 110 315
rect 144 485 210 493
rect 144 451 160 485
rect 194 451 210 485
rect 144 417 210 451
rect 144 383 160 417
rect 194 383 210 417
rect 144 349 210 383
rect 144 315 160 349
rect 194 315 210 349
rect 144 297 210 315
rect 64 249 130 263
rect 64 215 80 249
rect 114 215 130 249
rect 64 165 110 181
rect 164 177 210 297
rect 64 131 76 165
rect 64 97 110 131
rect 64 63 76 97
rect 64 17 110 63
rect 144 165 210 177
rect 144 131 160 165
rect 194 131 210 165
rect 144 97 210 131
rect 144 63 160 97
rect 194 63 210 97
rect 144 51 210 63
rect 0 -17 29 17
rect 63 -17 121 17
rect 155 -17 213 17
rect 247 -17 276 17
<< viali >>
rect 29 527 63 561
rect 121 527 155 561
rect 213 527 247 561
rect 29 -17 63 17
rect 121 -17 155 17
rect 213 -17 247 17
<< metal1 >>
rect 0 561 276 592
rect 0 527 29 561
rect 63 527 121 561
rect 155 527 213 561
rect 247 527 276 561
rect 0 496 276 527
rect 0 17 276 48
rect 0 -17 29 17
rect 63 -17 121 17
rect 155 -17 213 17
rect 247 -17 276 17
rect 0 -48 276 -17
<< labels >>
flabel locali s 164 289 198 323 0 FreeSans 340 0 0 0 Y
port 7 nsew
flabel locali s 164 221 198 255 0 FreeSans 340 0 0 0 Y
port 7 nsew
flabel locali s 72 221 106 255 0 FreeSans 340 0 0 0 A
port 6 nsew
flabel nwell s 29 527 63 561 0 FreeSans 200 0 0 0 VPB
port 2 nsew
flabel pwell s 29 -17 63 17 0 FreeSans 200 0 0 0 VNB
port 3 nsew
flabel metal1 s 29 -17 63 17 0 FreeSans 200 0 0 0 VGND
port 4 nsew
flabel metal1 s 29 527 63 561 0 FreeSans 200 0 0 0 VPWR
port 5 nsew
rlabel comment s 0 0 0 0 4 inv_1
<< properties >>
string FIXED_BBOX 0 0 276 544
string path 0.000 0.000 1.380 0.000 
<< end >>

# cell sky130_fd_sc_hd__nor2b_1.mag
magic
tech sky130A
magscale 1 2
<< nwell >>
rect -38 261 498 582
<< pwell >>
rect 145 157 415 203
rect 48 21 415 157
rect 48 17 63 21
rect 29 -17 63 17
<< scnmos >>
rect 126 47 156 131
rect 223 47 253 177
rect 307 47 337 177
<< scpmoshvt >>
rect 127 297 157 381
rect 235 297 265 497
rect 307 297 337 497
<< ndiff >>
rect 171 163 223 177
rect 171 131 179 163
rect 74 108 126 131
rect 74 74 82 108
rect 116 74 126 108
rect 74 47 126 74
rect 156 129 179 131
rect 213 129 223 163
rect 156 95 223 129
rect 156 61 179 95
rect 213 61 223 95
rect 156 47 223 61
rect 253 163 307 177
rect 253 129 263 163
rect 297 129 307 163
rect 253 95 307 129
rect 253 61 263 95
rect 297 61 307 95
rect 253 47 307 61
rect 337 95 389 177
rect 337 61 347 95
rect 381 61 389 95
rect 337 47 389 61
<< pdiff >>
rect 183 485 235 497
rect 183 451 191 485
rect 225 451 235 485
rect 183 417 235 451
rect 183 383 191 417
rect 225 383 235 417
rect 183 381 235 383
rect 75 363 127 381
rect 75 329 83 363
rect 117 329 127 363
rect 75 297 127 329
rect 157 297 235 381
rect 265 297 307 497
rect 337 485 389 497
rect 337 451 347 485
rect 381 451 389 485
rect 337 417 389 451
rect 337 383 347 417
rect 381 383 389 417
rect 337 297 389 383
<< ndiffc >>
rect 82 74 116 108
rect 179 129 213 163
rect 179 61 213 95
rect 263 129 297 163
rect 263 61 297 95
rect 347 61 381 95
<< pdiffc >>
rect 191 451 225 485
rect 191 383 225 417
rect 83 329 117 363
rect 347 451 381 485
rect 347 383 381 417
<< poly >>
rect 235 497 265 523
rect 307 497 337 523
rect 127 381 157 407
rect 127 265 157 297
rect 235 265 265 297
rect 21 249 157 265
rect 21 215 31 249
rect 65 215 157 249
rect 21 199 157 215
rect 199 249 265 265
rect 199 215 215 249
rect 249 215 265 249
rect 199 199 265 215
rect 307 265 337 297
rect 307 249 373 265
rect 307 215 323 249
rect 357 215 373 249
rect 307 199 373 215
rect 126 131 156 199
rect 223 177 253 199
rect 307 177 337 199
rect 126 21 156 47
rect 223 21 253 47
rect 307 21 337 47
<< polycont >>
rect 31 215 65 249
rect 215 215 249 249
rect 323 215 357 249
<< locali >>
rect 0 527 29 561
rect 63 527 121 561
rect 155 527 213 561
rect 247 527 305 561
rect 339 527 397 561
rect 431 527 460 561
rect 175 485 241 527
rect 175 451 191 485
rect 225 451 241 485
rect 175 417 241 451
rect 175 383 191 417
rect 225 383 241 417
rect 83 363 135 381
rect 175 371 241 383
rect 331 485 443 493
rect 331 451 347 485
rect 381 451 443 485
rect 331 417 443 451
rect 331 383 347 417
rect 381 383 443 417
rect 331 370 443 383
rect 117 336 135 363
rect 117 329 341 336
rect 83 302 341 329
rect 20 249 65 265
rect 20 215 31 249
rect 20 145 65 215
rect 99 109 135 302
rect 192 249 265 265
rect 192 215 215 249
rect 249 215 265 249
rect 307 249 341 302
rect 307 215 323 249
rect 357 215 373 249
rect 192 213 265 215
rect 407 179 443 370
rect 66 108 135 109
rect 66 74 82 108
rect 116 74 135 108
rect 171 163 213 179
rect 171 129 179 163
rect 171 95 213 129
rect 171 61 179 95
rect 171 17 213 61
rect 247 163 443 179
rect 247 129 263 163
rect 297 145 443 163
rect 297 129 313 145
rect 247 95 313 129
rect 247 61 263 95
rect 297 61 313 95
rect 247 51 313 61
rect 347 95 424 111
rect 381 61 424 95
rect 347 17 424 61
rect 0 -17 29 17
rect 63 -17 121 17
rect 155 -17 213 17
rect 247 -17 305 17
rect 339 -17 397 17
rect 431 -17 460 17
<< viali >>
rect 29 527 63 561
rect 121 527 155 561
rect 213 527 247 561
rect 305 527 339 561
rect 397 527 431 561
rect 29 -17 63 17
rect 121 -17 155 17
rect 213 -17 247 17
rect 305 -17 339 17
rect 397 -17 431 17
<< metal1 >>
rect 0 561 460 592
rect 0 527 29 561
rect 63 527 121 561
rect 155 527 213 561
rect 247 527 305 561
rect 339 527 397 561
rect 431 527 460 561
rect 0 496 460 527
rect 0 17 460 48
rect 0 -17 29 17
rect 63 -17 121 17
rect 155 -17 213 17
rect 247 -17 305 17
rect 339 -17 397 17
rect 431 -17 460 17
rect 0 -48 460 -17
<< labels >>
flabel locali s 29 221 63 255 0 FreeSans 400 180 0 0 B_N
port 6 nsew
flabel locali s 397 425 431 459 0 FreeSans 400 180 0 0 Y
port 8 nsew
flabel locali s 213 221 247 255 0 FreeSans 400 180 0 0 A
port 7 nsew
flabel nwell s 29 527 63 561 0 FreeSans 200 0 0 0 VPB
port 2 nsew
flabel pwell s 29 -17 63 17 0 FreeSans 200 0 0 0 VNB
port 3 nsew
flabel metal1 s 29 -17 63 17 0 FreeSans 200 0 0 0 VGND
port 4 nsew
flabel metal1 s 29 527 63 561 0 FreeSans 200 0 0 0 VPWR
port 5 nsew
rlabel comment s 0 0 0 0 4 nor2b_1
<< properties >>
string FIXED_BBOX 0 0 460 544
string path 0.000 0.000 2.300 0.000 
<< end >>

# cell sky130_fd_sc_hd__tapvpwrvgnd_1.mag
magic
tech sky130A
magscale 1 2
<< nwell >>
rect -38 261 130 582
<< pwell >>
rect 3 38 89 195
<< psubdiff >>
rect 29 145 63 169
rect 29 64 63 111
<< nsubdiff >>
rect 29 456 63 480
rect 29 363 63 422
rect 29 305 63 329
<< psubdiffcont >>
rect 29 111 63 145
<< nsubdiffcont >>
rect 29 422 63 456
rect 29 329 63 363
<< locali >>
rect 0 527 29 561
rect 63 527 92 561
rect 17 456 75 527
rect 17 422 29 456
rect 63 422 75 456
rect 17 363 75 422
rect 17 329 29 363
rect 63 329 75 363
rect 17 294 75 329
rect 17 145 75 162
rect 17 111 29 145
rect 63 111 75 145
rect 17 17 75 111
rect 0 -17 29 17
rect 63 -17 92 17
<< viali >>
rect 29 527 63 561
rect 29 -17 63 17
<< metal1 >>
rect 0 561 92 592
rect 0 527 29 561
rect 63 527 92 561
rect 0 496 92 527
rect 0 17 92 48
rect 0 -17 29 17
rect 63 -17 92 17
rect 0 -48 92 -17
<< labels >>
flabel metal1 s 22 524 75 553 0 FreeSans 200 0 0 0 VPWR
port 2 nsew
flabel metal1 s 21 -18 72 20 0 FreeSans 200 0 0 0 VGND
port 3 nsew
rlabel comment s 0 0 0 0 4 tapvpwrvgnd_1
<< properties >>
string FIXED_BBOX 0 0 92 544
<< end >>

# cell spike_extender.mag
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
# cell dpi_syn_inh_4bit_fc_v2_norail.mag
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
